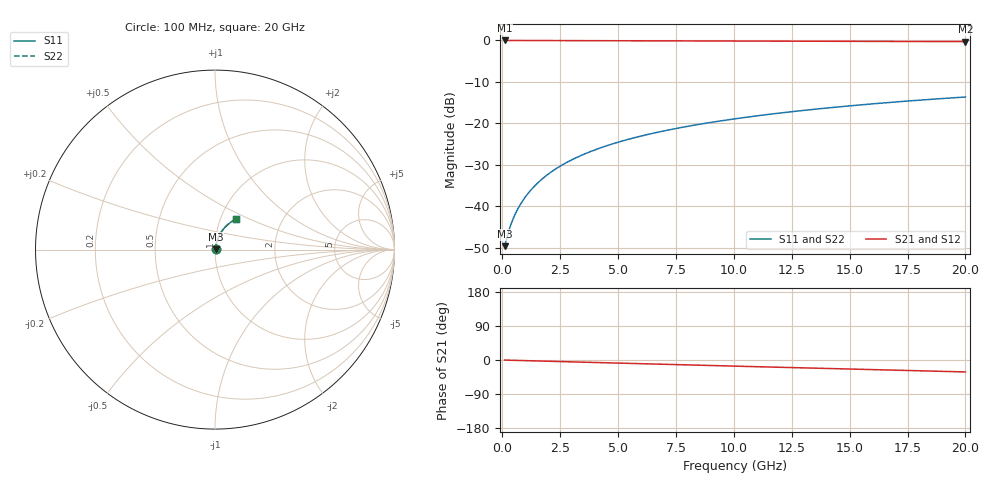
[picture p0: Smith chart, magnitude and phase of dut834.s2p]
! Touchstone file exported from HFSS 2026.1.0
!  File:  C:/ffzhzh/LocalFiles/Ansys_Project_Files/temp_train_TMRDL_834_1783156692_51560.aedt
!  Generated:  05:19:19 PM Jul  4, 2026
!  Design:  TMRDL
!  Project:  temp_train_TMRDL_834_1783156692_51560
! Variables:
!  h_bsmrdl = 2um
!  h_ox = 20um
!  h_rdl = 5um
!  h_sub = 80um
!  h_tmrdl = 4.04um
!  h_tsv = 80um
!  h_via = 3um
!  l_bsmrdl = 300um
!  l_sub = 914.43um
!  l_tmrdl = 514.43um
!  m_sub = 200um
!  pitch = 27.38um
!  r_tsv = 6um
!  s_tmrdl = 10um
!  w_bsmrdl = 18um
!  w_sub = 500um
!  w_tmrdl = 15.95um
!  x_tsv_center1 = 522.405um
!  x_tsv_center2 = 840.405um
!  x_tsv_center3 = 1370.785um
!  x_tsv_center4 = 1688.785um
!  x_tsv_center5 = 2219.165um
!  x_tsv_center6 = 2537.165um
# GHz S MA R 50.000000
! Terminal data exported
! Port[1] = TM_RDL1_1_T1
! Port[2] = TM_RDL1_1_T2
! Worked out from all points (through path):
!   200 points, 100 MHz to 20 GHz, reference 50 ohm
!   highest |S21| = -0.03 dB at 100 MHz (marker M1); lowest = -0.3 dB at 20 GHz (marker M2)
!   group delay of S21, straight-line fit = 4.36 ps
!   lowest |S11| = -49.6 dB at 100 MHz (marker M3), VSWR 1.01, Z = 50.3 + j0.144 ohm
!   |S11| at or under -10 dB: start of sweep to end of sweep
!   |S22| runs from -49.6 to -13.7 dB; largest |S21 - S12| = 2.1e-15
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0.1  0.003305 25.7  0.997 -0.2  0.997 -0.2  0.003305 25.7
! Gamma 0 0 0 0
! Port Impedance 50 0 50 0
0.3  0.005251 50.8  0.9967 -0.5  0.9967 -0.5  0.005252 50.8
0.4  0.006335 56.6  0.9966 -0.7  0.9966 -0.7  0.006336 56.6
0.5  0.007424 60.6  0.9964 -0.9  0.9964 -0.9  0.007426 60.6
0.6  0.00852 63.7  0.9963 -1.0  0.9963 -1.0  0.008522 63.7
0.8  0.01074 68.1  0.9962 -1.3  0.9962 -1.3  0.01074 68.1
1  0.013 71.0  0.9961 -1.7  0.9961 -1.7  0.013 70.9
1.2  0.01529 73.0  0.9959 -2.0  0.9959 -2.0  0.01529 72.9
1.4  0.0176 74.4  0.9958 -2.3  0.9958 -2.3  0.0176 74.4
1.7  0.0211 75.8  0.9956 -2.8  0.9956 -2.8  0.0211 75.7
2.2  0.02695 76.9  0.9953 -3.6  0.9953 -3.6  0.02695 76.9
2.8  0.03396 77.4  0.9947 -4.6  0.9947 -4.6  0.03396 77.4
3.5  0.04209 77.2  0.994 -5.8  0.994 -5.8  0.04209 77.2
4.2  0.05012 76.7  0.9932 -6.9  0.9932 -6.9  0.05012 76.7
5  0.05918 75.8  0.9921 -8.2  0.9921 -8.2  0.05918 75.8
5.9  0.0692 74.7  0.9908 -9.6  0.9908 -9.6  0.0692 74.7
6.8  0.07906 73.6  0.9895 -11.1  0.9895 -11.1  0.07906 73.5
8.3  0.09512 71.5  0.9871 -13.5  0.9871 -13.5  0.09512 71.5
10.1  0.1139 69.0  0.9841 -16.3  0.9841 -16.3  0.1139 69.0
13.4  0.1469 64.4  0.9782 -21.4  0.9782 -21.4  0.1469 64.3
16.7  0.1782 59.7  0.9719 -26.5  0.9719 -26.5  0.1782 59.6
20  0.2076 55.0  0.9652 -31.5  0.9652 -31.5  0.2076 54.9
